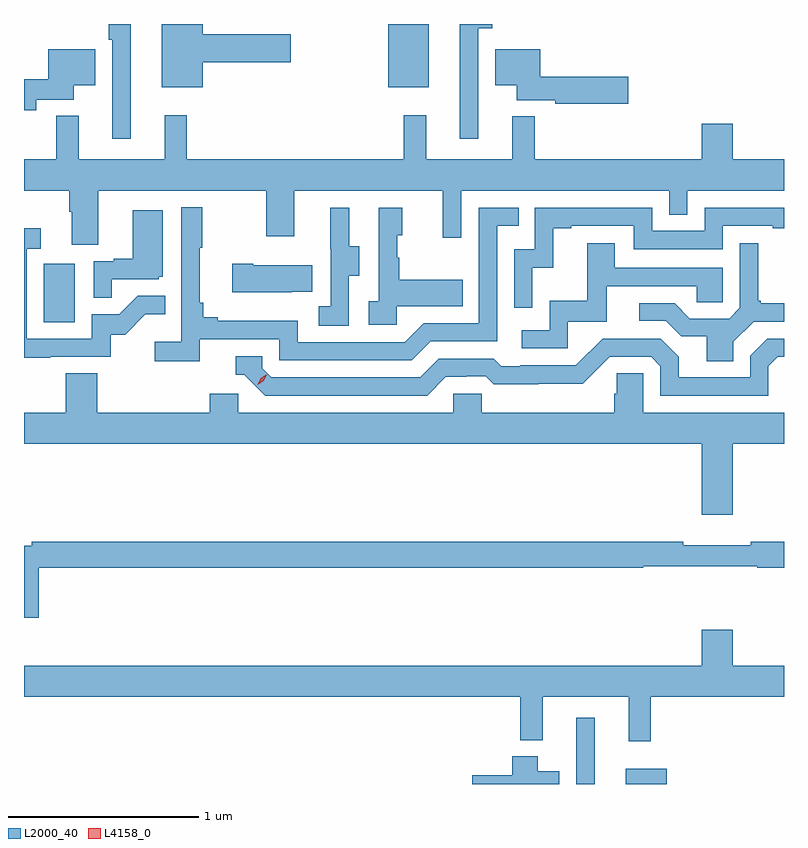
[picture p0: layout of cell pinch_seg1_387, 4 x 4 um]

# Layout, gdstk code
import gdstk
lib = gdstk.Library(unit=1e-6, precision=1e-09)
def R(c, l, rs):  # rectangles x0, y0, x1, y1
    for r in rs: c.add(gdstk.rectangle(r[:2], r[2:], *l))
def P(c, l, *ps):  # polygons
    for p in ps: c.add(gdstk.Polygon(p, *l))
L2000_40 = (2000, 40)
L4158_0 = (4158, 0)

pinch_seg1_387 = lib.new_cell('pinch_seg1_387')
R(pinch_seg1_387, L2000_40, [(991.521,523.301,991.618,523.651), (991.781,523.301,991.996,523.381), (988.718,525.732,988.882,526.039), (990.53,526.967,990.745,527.301)])
P(pinch_seg1_387, L2000_40, [(991.005,527.279),(991.079,527.279),(991.079,527.301),(990.908,527.301),(990.908,526.698),(991.005,526.698)],
  [(989.176,527.301),(989.059,527.301),(989.059,527.219),(989.079,527.219),(989.079,526.698),(989.176,526.698)],
  [(989.554,527.099),(990.019,527.099),(990.019,527.246),(989.554,527.246),(989.554,527.301),(989.339,527.301),(989.339,526.967),(989.554,526.967)],
  [(991.795,527.024),(991.33,527.024),(991.33,527.167),(991.094,527.167),(991.094,526.979),(991.208,526.979),(991.208,526.901),(991.41,526.901),(991.41,526.882),(991.795,526.882)],
  [(988.678,526.902),(988.876,526.902),(988.876,526.979),(988.99,526.979),(988.99,527.167),(988.742,527.167),(988.742,527.011),(988.614,527.011),(988.614,526.847),(988.678,526.847)],
  [(989.005,526.424),(989.89,526.424),(989.89,526.185),(990.037,526.185),(990.037,526.424),(990.818,526.424),(990.818,526.176),(990.915,526.176),(990.915,526.424),(992.01,526.424),(992.01,526.297),(992.106,526.297),(992.106,526.424),(992.614,526.424),(992.614,526.588),(992.344,526.588),(992.344,526.777),(992.18,526.777),(992.18,526.588),(991.301,526.588),(991.301,526.816),(991.184,526.816),(991.184,526.588),(990.731,526.588),(990.731,526.822),(990.613,526.822),(990.613,526.588),(989.471,526.588),(989.471,526.822),(989.354,526.822),(989.354,526.588),(988.901,526.588),(988.901,526.817),(988.783,526.817),(988.783,526.588),(988.614,526.588),(988.614,526.424),(988.853,526.424),(988.853,526.312),(988.865,526.312),(988.865,526.138),(989.005,526.138)],
  [(989.54,525.642),(989.958,525.642),(989.958,525.531),(990.655,525.531),(990.754,525.63),(991.104,525.63),(991.104,526.239),(991.217,526.239),(991.217,526.335),(991.008,526.335),(991.008,525.726),(990.717,525.726),(990.618,525.627),(990.054,525.627),(990.054,525.739),(989.635,525.739),(989.635,525.758),(989.558,525.758),(989.558,525.835),(989.539,525.835),(989.539,526.123),(989.551,526.123),(989.551,526.336),(989.442,526.336),(989.442,525.628),(989.301,525.628),(989.301,525.526),(989.54,525.526)],
  [(991.29,526.019),(991.4,526.019),(991.4,526.227),(991.495,526.227),(991.495,526.239),(991.824,526.239),(991.824,526.116),(992.292,526.116),(992.292,526.239),(992.555,526.239),(992.555,526.227),(992.614,526.227),(992.614,526.335),(992.196,526.335),(992.196,526.212),(991.92,526.212),(991.92,526.335),(991.302,526.335),(991.302,526.116),(991.194,526.116),(991.194,525.807),(991.29,525.807)],
  [(990.576,525.815),(990.923,525.815),(990.923,525.955),(990.589,525.955),(990.589,526.07),(990.579,526.07),(990.579,526.188),(990.604,526.188),(990.604,526.333),(990.48,526.333),(990.48,525.842),(990.429,525.842),(990.429,525.717),(990.576,525.717)],
  [(990.324,525.976),(990.379,525.976),(990.379,526.131),(990.325,526.131),(990.325,526.333),(990.227,526.333),(990.227,526.119),(990.228,526.119),(990.228,525.815),(990.165,525.815),(990.165,525.712),(990.324,525.712)],
  [(989.075,525.957),(989.322,525.957),(989.322,525.972),(989.344,525.972),(989.344,526.321),(989.186,526.321),(989.186,526.066),(989.087,526.066),(989.087,526.053),(988.98,526.053),(988.98,525.859),(989.075,525.859)],
  [(988.751,525.549),(989.07,525.549),(989.07,525.666),(989.146,525.666),(989.253,525.773),(989.357,525.773),(989.357,525.872),(989.213,525.872),(989.115,525.774),(988.971,525.774),(988.971,525.645),(988.629,525.645),(988.629,526.119),(988.702,526.119),(988.702,526.225),(988.614,526.225),(988.614,525.544),(988.751,525.544)],
  [(991.476,525.735),(991.681,525.735),(991.681,525.921),(992.155,525.921),(992.155,525.837),(992.292,525.837),(992.292,526.017),(991.723,526.017),(991.723,526.147),(991.579,526.147),(991.579,525.844),(991.38,525.844),(991.38,525.69),(991.233,525.69),(991.233,525.594),(991.476,525.594)],
  [(992.347,525.628),(992.454,525.735),(992.614,525.735),(992.614,525.832),(992.491,525.832),(992.491,525.844),(992.479,525.844),(992.479,526.147),(992.382,526.147),(992.382,525.807),(992.325,525.75),(992.119,525.75),(992.038,525.831),(991.851,525.831),(991.851,525.738),(991.992,525.738),(992.072,525.658),(992.207,525.658),(992.207,525.526),(992.347,525.526)],
  [(990.023,525.893),(990.131,525.893),(990.131,526.03),(989.821,526.03),(989.821,526.038),(989.709,526.038),(989.709,525.89),(990.023,525.89)],
  [(990.835,525.444),(990.942,525.444),(990.942,525.447),(991.045,525.447),(991.087,525.405),(991.32,525.405),(991.32,525.407),(991.556,525.407),(991.698,525.549),(991.914,525.549),(991.962,525.501),(991.962,525.345),(992.532,525.345),(992.532,525.501),(992.58,525.549),(992.614,525.549),(992.614,525.645),(992.526,525.645),(992.436,525.555),(992.436,525.441),(992.059,525.441),(992.059,525.551),(991.965,525.645),(991.659,525.645),(991.518,525.504),(991.225,525.504),(991.225,525.501),(991.126,525.501),(991.087,525.54),(990.798,525.54),(990.699,525.441),(989.916,525.441),(989.868,525.489),(989.868,525.552),(989.729,525.552),(989.729,525.456),(989.772,525.456),(989.883,525.345),(990.736,525.345)],
  [(991.872,525.464),(991.735,525.464),(991.735,525.354),(991.721,525.354),(991.721,525.256),(991.023,525.256),(991.023,525.354),(990.873,525.354),(990.873,525.256),(989.742,525.256),(989.742,525.354),(989.591,525.354),(989.591,525.256),(989,525.256),(989,525.464),(988.835,525.464),(988.835,525.256),(988.614,525.256),(988.614,525.092),(992.18,525.092),(992.18,524.718),(992.344,524.718),(992.344,525.092),(992.614,525.092),(992.614,525.256),(991.872,525.256)],
  [(988.691,524.44),(991.874,524.44),(991.874,524.448),(992.474,524.448),(992.474,524.44),(992.614,524.44),(992.614,524.576),(992.44,524.576),(992.44,524.557),(992.084,524.557),(992.084,524.576),(988.654,524.576),(988.654,524.556),(988.614,524.556),(988.614,524.175),(988.691,524.175)],
  [(991.913,523.76),(992.614,523.76),(992.614,523.924),(992.344,523.924),(992.344,524.113),(992.18,524.113),(992.18,523.924),(988.614,523.924),(988.614,523.76),(991.225,523.76),(991.225,523.532),(991.343,523.532),(991.343,523.76),(991.796,523.76),(991.796,523.527),(991.913,523.527)],
  [(991.432,523.369),(991.318,523.369),(991.318,523.447),(991.184,523.447),(991.184,523.347),(990.972,523.347),(990.972,523.301),(991.432,523.301)])
P(pinch_seg1_387, L4158_0, [(989.844,525.403),(989.844,525.403),(989.86,525.436),(989.89,525.456),(989.891,525.456),(989.891,525.456),(989.875,525.423),(989.845,525.403)])

lib.write_gds('pinch_seg1_387.gds')
